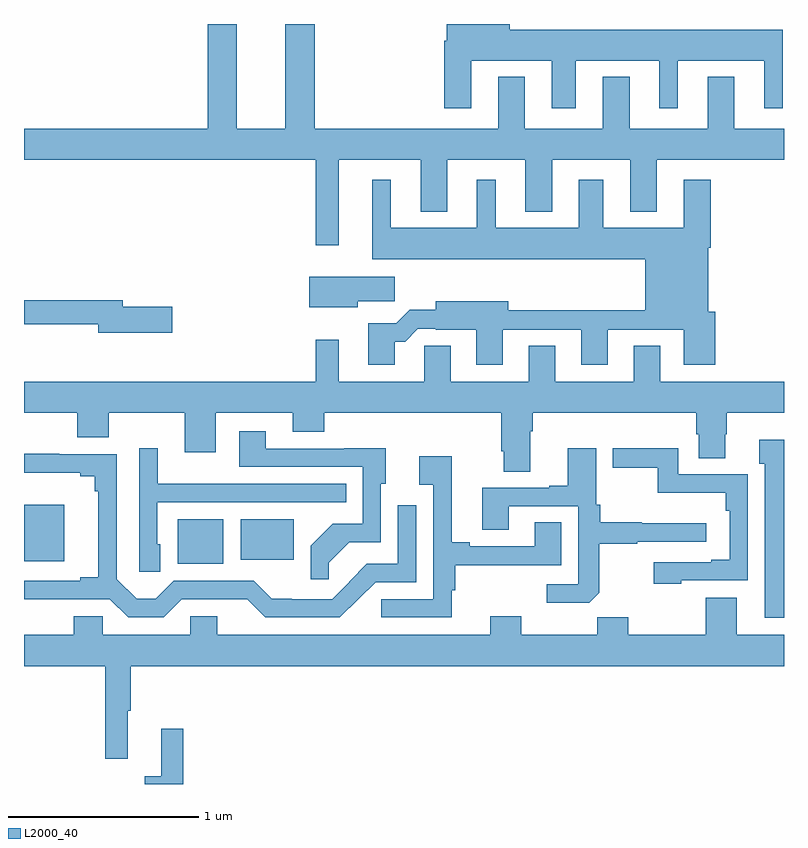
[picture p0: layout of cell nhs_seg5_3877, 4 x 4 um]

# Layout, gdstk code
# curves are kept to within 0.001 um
import gdstk
lib = gdstk.Library(unit=1e-6, precision=1e-09)
def R(c, l, rs):  # rectangles x0, y0, x1, y1
    for r in rs: c.add(gdstk.rectangle(r[:2], r[2:], *l))
def P(c, l, *ps):  # polygons
    for p in ps: c.add(gdstk.Polygon(p, *l))
L2000_40 = (2000, 40)

nhs_seg5_3877 = lib.new_cell('nhs_seg5_3877')
R(nhs_seg5_3877, L2000_40, [(339.809,863.957,340.048,864.193), (339,863.972,339.211,864.268), (340.142,863.978,340.42,864.193)])
P(nhs_seg5_3877, L2000_40, [(340.657,866.084),(341.087,866.084),(341.087,865.811),(341.227,865.811),(341.227,866.084),(341.639,866.084),(341.639,865.811),(341.779,865.811),(341.779,866.084),(342.191,866.084),(342.191,865.811),(342.331,865.811),(342.331,866.084),(343,866.084),(343,866.248),(342.739,866.248),(342.739,866.521),(342.599,866.521),(342.599,866.248),(342.187,866.248),(342.187,866.521),(342.047,866.521),(342.047,866.248),(341.635,866.248),(341.635,866.521),(341.495,866.521),(341.495,866.248),(340.529,866.248),(340.529,866.799),(340.376,866.799),(340.376,866.248),(340.12,866.248),(340.12,866.799),(339.968,866.799),(339.968,866.248),(339,866.248),(339,866.084),(340.536,866.084),(340.536,865.635),(340.657,865.635)],
  [(341.353,866.606),(341.777,866.606),(341.777,866.355),(341.905,866.355),(341.905,866.606),(342.344,866.606),(342.344,866.355),(342.442,866.355),(342.442,866.606),(342.896,866.606),(342.896,866.355),(342.994,866.355),(342.994,866.77),(341.557,866.77),(341.557,866.799),(341.225,866.799),(341.225,866.71),(341.213,866.71),(341.213,866.355),(341.353,866.355)],
  [(340.951,865.127),(341.006,865.127),(341.073,865.194),(341.167,865.194),(341.167,865.191),(341.381,865.191),(341.381,865.005),(341.521,865.005),(341.521,865.191),(341.933,865.191),(341.933,865.005),(342.073,865.005),(342.073,865.191),(342.473,865.191),(342.473,865.005),(342.638,865.005),(342.638,865.284),(342.601,865.284),(342.601,865.622),(342.614,865.622),(342.614,865.978),(342.473,865.978),(342.473,865.726),(342.049,865.726),(342.049,865.978),(341.921,865.978),(341.921,865.726),(341.482,865.726),(341.482,865.978),(341.384,865.978),(341.384,865.726),(340.93,865.726),(340.93,865.978),(340.832,865.978),(340.832,865.562),(342.269,865.562),(342.269,865.292),(341.548,865.292),(341.548,865.339),(341.168,865.339),(341.168,865.295),(341.03,865.295),(340.96,865.225),(340.811,865.225),(340.811,865.005),(340.951,865.005)],
  [(340.756,865.339),(340.951,865.339),(340.951,865.468),(340.502,865.468),(340.502,865.307),(340.756,865.307)],
  [(339.781,865.31),(339.52,865.31),(339.52,865.346),(339,865.346),(339,865.218),(339.392,865.218),(339.392,865.175),(339.781,865.175)],
  [(341.665,864.656),(341.678,864.656),(341.678,864.752),(342.539,864.752),(342.539,864.639),(342.551,864.639),(342.551,864.514),(342.691,864.514),(342.691,864.639),(342.699,864.639),(342.699,864.752),(343,864.752),(343,864.916),(342.349,864.916),(342.349,865.106),(342.209,865.106),(342.209,864.916),(341.797,864.916),(341.797,865.106),(341.657,865.106),(341.657,864.916),(341.245,864.916),(341.245,865.106),(341.106,865.106),(341.106,864.916),(340.657,864.916),(340.657,865.138),(340.536,865.138),(340.536,864.916),(339,864.916),(339,864.752),(339.281,864.752),(339.281,864.624),(339.445,864.624),(339.445,864.752),(339.845,864.752),(339.845,864.546),(340.009,864.546),(340.009,864.752),(340.415,864.752),(340.415,864.653),(340.579,864.653),(340.579,864.752),(341.513,864.752),(341.513,864.55),(341.525,864.55),(341.525,864.442),(341.665,864.442)],
  [(340.604,863.964),(340.712,864.072),(340.878,864.072),(340.878,864.378),(340.903,864.378),(340.903,864.566),(340.685,864.566),(340.685,864.564),(340.273,864.564),(340.273,864.655),(340.133,864.655),(340.133,864.468),(340.782,864.468),(340.782,864.168),(340.625,864.168),(340.509,864.052),(340.509,863.877),(340.604,863.877)],
  [(343,864.61),(342.869,864.61),(342.869,864.485),(342.899,864.485),(342.899,863.675),(343,863.675)],
  [(342.459,863.871),(342.81,863.871),(342.81,864.429),(342.444,864.429),(342.444,864.566),(342.099,864.566),(342.099,864.463),(342.336,864.463),(342.336,864.332),(342.694,864.332),(342.694,864.236),(342.714,864.236),(342.714,863.98),(342.617,863.98),(342.617,863.967),(342.315,863.967),(342.315,863.852),(342.459,863.852)],
  [(339.718,864.06),(339.702,864.06),(339.702,864.282),(340.697,864.282),(340.697,864.378),(340.037,864.378),(340.037,864.379),(339.703,864.379),(339.703,864.565),(339.606,864.565),(339.606,863.917),(339.718,863.917)],
  [(342.027,863.805),(342.027,864.063),(342.227,864.063),(342.227,864.075),(342.592,864.075),(342.592,864.172),(342.251,864.172),(342.251,864.176),(342.032,864.176),(342.032,864.268),(342.012,864.268),(342.012,864.565),(341.861,864.565),(341.861,864.37),(341.765,864.37),(341.765,864.357),(341.411,864.357),(341.411,864.136),(341.551,864.136),(341.551,864.261),(341.916,864.261),(341.916,863.85),(341.751,863.85),(341.751,863.754),(341.975,863.754)],
  [(339.831,863.772),(340.175,863.771),(340.269,863.676),(340.663,863.676),(340.851,863.862),(341.064,863.862),(341.064,864.265),(340.968,864.265),(340.968,863.958),(340.805,863.958),(340.711,863.864),(340.713,863.862),(340.623,863.772),(340.408,863.772),(340.408,863.774),(340.304,863.774),(340.209,863.868),(339.789,863.868),(339.694,863.773),(339.593,863.773),(339.489,863.877),(339.489,864.534),(339.185,864.534),(339.185,864.536),(339,864.536),(339,864.437),(339.296,864.437),(339.296,864.418),(339.373,864.418),(339.373,864.341),(339.392,864.341),(339.392,863.888),(339.296,863.888),(339.296,863.868),(339,863.868),(339,863.771),(339.452,863.772),(339.548,863.676),(339.735,863.676)],
  [(341.252,863.819),(341.27,863.819),(341.27,863.95),(341.827,863.95),(341.827,864.176),(341.687,864.176),(341.687,864.051),(341.347,864.051),(341.347,864.071),(341.251,864.071),(341.251,864.523),(341.079,864.523),(341.079,864.374),(341.154,864.374),(341.154,863.772),(340.881,863.772),(340.881,863.676),(341.252,863.676)],
  [(339.545,863.184),(339.563,863.184),(339.563,863.42),(343,863.42),(343,863.584),(342.751,863.584),(342.751,863.779),(342.587,863.779),(342.587,863.584),(342.181,863.584),(342.181,863.677),(342.017,863.677),(342.017,863.584),(341.617,863.584),(341.617,863.683),(341.453,863.683),(341.453,863.584),(340.018,863.584),(340.018,863.682),(339.876,863.682),(339.876,863.584),(339.414,863.584),(339.414,863.682),(339.263,863.682),(339.263,863.584),(339,863.584),(339,863.42),(339.427,863.42),(339.427,862.932),(339.545,862.932)],
  [(339.839,863.089),(339.722,863.089),(339.722,862.841),(339.636,862.841),(339.636,862.799),(339.839,862.799)])

lib.write_gds('nhs_seg5_3877.gds')
